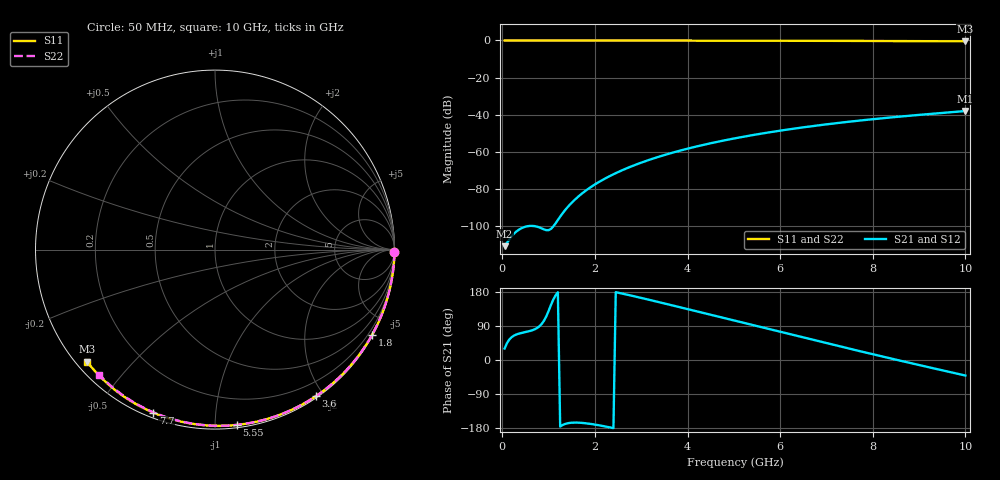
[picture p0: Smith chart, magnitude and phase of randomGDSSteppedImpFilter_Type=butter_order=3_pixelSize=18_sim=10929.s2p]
! freq	dB(S11)	phase(S11)	dB(S12)	phase(S12)
!  dB(S21)	phase(S21)	dB(S22)	phase(S22)
!S-par simulation data
#  GHz  S  DB  R 50
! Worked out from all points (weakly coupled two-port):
!   200 points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, 50 MHz to 10 GHz, reference 50 ohm
!   highest |S21| = -38.00 dB at 10 GHz (marker M1); lowest = -110.8 dB at 50 MHz (marker M2)
!   lowest |S11| = -0.5 dB at 10 GHz (marker M3), VSWR 37.07, Z = 1.54 - j18.8 ohm
!   |S11| at or under -10 dB: nowhere
!   |S22| runs from -0.4 to 0.0 dB; largest |S21 - S12| = 0
!   S11 on the Smith chart (normalised r, x): 50 MHz: open; 1.8 GHz: 0.03, -3.94; 3.6 GHz: 0.02, -1.90; 5.55 GHz: 0.02, -1.13; 7.7 GHz: 0.02, -0.69; 10 GHz: 0.03, -0.38
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0.05  -0.00 -0.8  -110.78 30.4  -110.78 30.4  -0.00 -0.8
0.45  -0.01 -7.2  -100.73 72.4  -100.73 72.4  -0.01 -6.9
0.9  -0.02 -14.4  -101.74 103.6  -101.74 103.6  -0.02 -13.7
1.75  -0.04 -27.7  -81.85 -166.3  -81.85 -166.3  -0.03 -26.5
1.8  -0.04 -28.5  -80.91 -166.9  -80.91 -166.9  -0.03 -27.2
1.85  -0.04 -29.2  -80.02 -167.7  -80.02 -167.7  -0.04 -27.9
2.15  -0.04 -33.8  -75.31 -173.6  -75.31 -173.6  -0.04 -32.4
2.35  -0.05 -36.9  -72.66 -178.5  -72.66 -178.5  -0.05 -35.3
2.55  -0.05 -39.9  -70.31 176.4  -70.31 176.4  -0.05 -38.2
2.95  -0.06 -46.0  -66.26 165.3  -66.26 165.3  -0.06 -44.0
3.4  -0.07 -52.6  -62.46 152.2  -62.46 152.2  -0.07 -50.4
3.6  -0.07 -55.6  -60.97 146.3  -60.97 146.3  -0.07 -53.2
3.9  -0.08 -59.9  -58.92 137.3  -58.92 137.3  -0.08 -57.3
4.3  -0.09 -65.6  -56.47 125.3  -56.47 125.3  -0.09 -62.8
5.05  -0.12 -76.1  -52.57 102.7  -52.57 102.7  -0.11 -72.9
5.55  -0.14 -82.9  -50.36 87.7  -50.36 87.7  -0.13 -79.4
6.1  -0.16 -90.2  -48.20 71.2  -48.20 71.2  -0.15 -86.4
6.7  -0.19 -98.0  -46.12 53.4  -46.12 53.4  -0.18 -93.9
7.7  -0.25 -110.7  -43.18 23.9  -43.18 23.9  -0.24 -106.0
8.35  -0.30 -118.7  -41.55 5.1  -41.55 5.1  -0.29 -113.7
9.2  -0.38 -129.0  -39.65 -18.9  -39.65 -18.9  -0.36 -123.5
10  -0.47 -138.7  -38.00 -41.0  -38.00 -41.0  -0.45 -132.7
